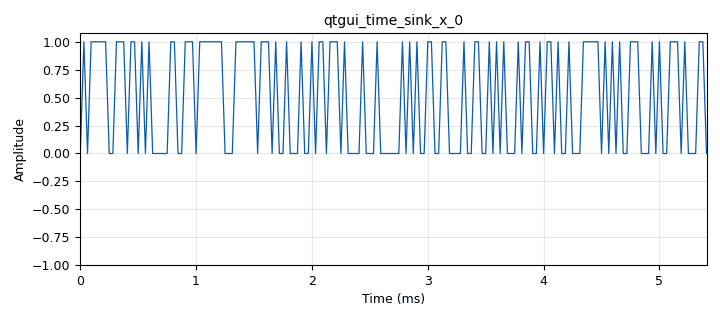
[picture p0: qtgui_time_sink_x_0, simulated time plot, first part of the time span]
options:
  parameters:
    author: clouda
    generate_options: qt_gui
    id: sync
    output_language: python
    title: Not titled yet
  states: {}

blocks:
- name: head
  id: variable_header_format_default
  parameters:
    access_code: '00011010110011111111110000011101'
    bps: '1'
    threshold: '1'
  states: {}
- name: head_0
  id: variable_header_format_default
  parameters:
    access_code: '10111000001111111111001101011000'
    bps: '1'
    threshold: '1'
  states: {state: disabled}
- name: samp_rate
  id: variable
  parameters:
    value: '32000'
  states: {}
- name: blocks_char_to_float_0
  id: blocks_char_to_float
  parameters:
    scale: '1'
  states: {}
- name: blocks_message_debug_0
  id: blocks_message_debug
  parameters: {}
  states: {state: disabled}
- name: blocks_message_debug_0_0
  id: blocks_message_debug
  parameters: {}
  states: {state: disabled}
- name: blocks_message_debug_0_1
  id: blocks_message_debug
  parameters: {}
  states: {state: disabled}
- name: blocks_message_strobe_0
  id: blocks_message_strobe
  parameters:
    msg: pmt.PMT_T
    period: '2000'
  states: {}
- name: blocks_repack_bits_bb_0
  id: blocks_repack_bits_bb
  parameters:
    endianness: gr.GR_MSB_FIRST
    k: '1'
    l: '8'
    len_tag_key: '"sync_head"'
  states: {}
- name: blocks_tag_debug_0
  id: blocks_tag_debug
  parameters:
    filter: ''
    type: byte
  states: {}
- name: blocks_tagged_stream_mux_0
  id: blocks_tagged_stream_mux
  parameters:
    lengthtagname: packet_len
    ninputs: '2'
    type: byte
  states: {}
- name: blocks_unpack_k_bits_bb_0
  id: blocks_unpack_k_bits_bb
  parameters:
    k: '8'
  states: {}
- name: digital_protocol_formatter_bb_0
  id: digital_protocol_formatter_bb
  parameters:
    format: head
    len_tag_key: '"packet_len"'
  states: {}
- name: hsdec_frame_sync_0
  id: hsdec_frame_sync
  parameters:
    block_size: '512'
    code: '0x1acffc1d'
    len: 512+4
  states: {}
- name: lilacsat_sync_det_b_0
  id: lilacsat_sync_det_b
  parameters:
    descrambling: 'False'
    len: '516'
    nrz: 'False'
    sync_word: '0x1acffc1d'
  states: {state: disabled}
- name: pdu_pdu_to_tagged_stream_0
  id: pdu_pdu_to_tagged_stream
  parameters:
    tag: packet_len
    type: byte
  states: {}
- name: pdu_random_pdu_0
  id: pdu_random_pdu
  parameters:
    length_modulo: '1'
    mask: '0xFF'
    maxsize: '512'
    minsize: '512'
  states: {}
- name: pdu_tagged_stream_to_pdu_0
  id: pdu_tagged_stream_to_pdu
  parameters:
    tag: sync_head
    type: byte
  states: {}
- name: qtgui_time_sink_x_0
  id: qtgui_time_sink_x
  parameters:
    size: '1024'
    srate: samp_rate
    type: float
  states: {}

connections:
- [blocks_char_to_float_0, '0', qtgui_time_sink_x_0, '0']
- [blocks_message_strobe_0, strobe, pdu_random_pdu_0, generate]
- [blocks_repack_bits_bb_0, '0', pdu_tagged_stream_to_pdu_0, '0']
- [blocks_tagged_stream_mux_0, '0', blocks_unpack_k_bits_bb_0, '0']
- [blocks_unpack_k_bits_bb_0, '0', blocks_char_to_float_0, '0']
- [blocks_unpack_k_bits_bb_0, '0', hsdec_frame_sync_0, '0']
- [blocks_unpack_k_bits_bb_0, '0', lilacsat_sync_det_b_0, '0']
- [digital_protocol_formatter_bb_0, '0', blocks_tagged_stream_mux_0, '0']
- [hsdec_frame_sync_0, '0', blocks_repack_bits_bb_0, '0']
- [hsdec_frame_sync_0, '0', blocks_tag_debug_0, '0']
- [lilacsat_sync_det_b_0, out, blocks_message_debug_0, print]
- [pdu_pdu_to_tagged_stream_0, '0', blocks_tagged_stream_mux_0, '1']
- [pdu_pdu_to_tagged_stream_0, '0', digital_protocol_formatter_bb_0, '0']
- [pdu_random_pdu_0, pdus, blocks_message_debug_0_0, print]
- [pdu_random_pdu_0, pdus, pdu_pdu_to_tagged_stream_0, pdus]
- [pdu_tagged_stream_to_pdu_0, pdus, blocks_message_debug_0_1, print]

metadata:
  file_format: 1
